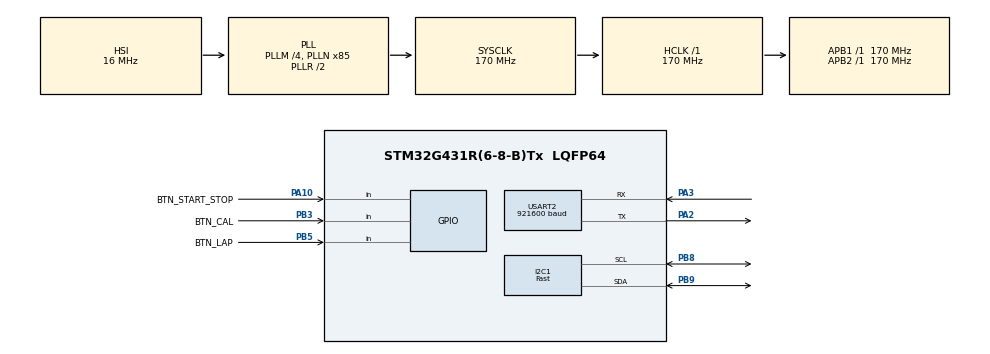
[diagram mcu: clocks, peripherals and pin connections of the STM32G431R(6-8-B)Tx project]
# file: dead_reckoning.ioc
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I2C1.I2C_Speed_Mode=I2C_Fast
I2C1.Timing=0x30422838
Mcu.Family=STM32G4
Mcu.Name=STM32G431R(6-8-B)Tx
Mcu.Package=LQFP64
NVIC.PriorityGroup=NVIC_PRIORITYGROUP_4
PA10.GPIO_Label=BTN_START_STOP
PA10.GPIO_PuPd=GPIO_PULLUP
PA10.Signal=GPIO_Input
PA13.Mode=Serial_Wire
PA13.Signal=SYS_JTMS-SWDIO
PA14.Mode=Serial_Wire
PA14.Signal=SYS_JTCK-SWCLK
PA2.Mode=Asynchronous
PA2.Signal=USART2_TX
PA2.TagName=VCP_TX
PA3.Mode=Asynchronous
PA3.Signal=USART2_RX
PA3.TagName=VCP_RX
PB3.GPIO_Label=BTN_CAL
PB3.GPIO_PuPd=GPIO_PULLUP
PB3.Signal=GPIO_Input
PB5.GPIO_Label=BTN_LAP
PB5.GPIO_PuPd=GPIO_PULLUP
PB5.Signal=GPIO_Input
PB8-BOOT0.Mode=I2C
PB8-BOOT0.Signal=I2C1_SCL
PB9.Mode=I2C
PB9.Signal=I2C1_SDA
ProjectManager.HeapSize=0x200
ProjectManager.StackSize=0x400
ProjectManager.TargetToolchain=STM32CubeIDE
RCC.ADC12Freq_Value=170000000
RCC.AHBFreq_Value=170000000
RCC.APB1Freq_Value=170000000
RCC.APB1TimFreq_Value=170000000
RCC.APB2Freq_Value=170000000
RCC.APB2TimFreq_Value=170000000
RCC.CortexFreq_Value=170000000
RCC.EXTERNAL_CLOCK_VALUE=12288000
RCC.HCLKFreq_Value=170000000
RCC.HSE_VALUE=24000000
RCC.HSI48_VALUE=48000000
RCC.HSI_VALUE=16000000
RCC.LSE_VALUE=32768
RCC.PLLM=RCC_PLLM_DIV4
RCC.PLLN=85
RCC.RTCClockSelection=RCC_RTCCLKSOURCE_LSE
RCC.SYSCLKFreq_VALUE=170000000
RCC.SYSCLKSource=RCC_SYSCLKSOURCE_PLLCLK
RCC.USBFreq_Value=170000000
RCC.VCOOutputFreq_Value=340000000
USART2.BaudRate=921600
USART2.VirtualMode-Asynchronous=VM_ASYNC
VP_SYS_VS_DBSignals.Mode=DisableDeadBatterySignals
board=NUCLEO-G431RB

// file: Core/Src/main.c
/* USER CODE BEGIN Header */
/**
  ******************************************************************************
  * @file           : main.c
  * @brief          : Main program body
  ******************************************************************************
  * @attention
  *
  * Copyright (c) 2025 STMicroelectronics.
  * All rights reserved.
  *
  * This software is licensed under terms that can be found in the LICENSE file
  * in the root directory of this software component.
  * If no LICENSE file comes with this software, it is provided AS-IS.
  *
  ******************************************************************************
  */
/* USER CODE END Header */
#include "main.h"

/* USER CODE BEGIN Includes */
#include "app_state.h"
#include "app_tick.h"
#include "buttons.h"
#include "display.h"
#include "filter_app.h"
#include "i2c_bus.h"
#include "sensors.h"
/* USER CODE END Includes */

I2C_HandleTypeDef hi2c1;

UART_HandleTypeDef huart2;

void SystemClock_Config(void);
static void MX_GPIO_Init(void);
static void MX_I2C1_Init(void);
static void MX_USART2_UART_Init(void);

/* USER CODE BEGIN 0 */
#include <math.h>
#include <stdio.h>
#include <string.h>
#include <stdbool.h>

extern UART_HandleTypeDef huart2;

// ---------- printf retarget (USART2) ----------
// Blocking. At 921600 baud a 200-character line costs about 2.2 ms, which fits
// inside the tick, but it is still the largest avoidable cost in the loop and
// is the thing to move to DMA when the serial stream goes continuous.
int _write(int file, char *ptr, int len) {
  (void)file;
  HAL_UART_Transmit(&huart2, (uint8_t*)ptr, (uint16_t)len, HAL_MAX_DELAY);
  return len;
}

static float vec3_norm(const float v[3]) {
  return sqrtf(v[0]*v[0] + v[1]*v[1] + v[2]*v[2]);
}

// Body-to-nav quaternion (Hamilton, scalar first) to NED roll/pitch/yaw in
// degrees. For reporting only; the filter works in quaternions throughout.
static void quat_to_euler_deg(const float q[4], float *roll, float *pitch, float *yaw) {
  const float w = q[0], x = q[1], y = q[2], z = q[3];
  const float rad_to_deg = 57.29577951f;

  *roll = atan2f(2.0f*(w*x + y*z), 1.0f - 2.0f*(x*x + y*y)) * rad_to_deg;

  // Clamped because rounding can push the argument just outside asin's domain
  // at the poles, where pitch is +/-90 degrees.
  float s = 2.0f*(w*y - z*x);
  if (s > 1.0f) s = 1.0f;
  if (s < -1.0f) s = -1.0f;
  *pitch = asinf(s) * rad_to_deg;

  *yaw = atan2f(2.0f*(w*z + x*y), 1.0f - 2.0f*(y*y + z*z)) * rad_to_deg;
}

// ---------- status screen ----------
// Redrawing only writes the framebuffer; display_service() pushes changed pages
// to the panel one at a time from the main loop, so nothing here blocks.
//
// The font is uppercase-only, so all text is written that way.
// How long a LAP snapshot stays on screen before live updates resume.
#define LAP_FREEZE_MS 1000u

// lap_marker labels the frame as a held snapshot. Freezing only suspends
// redrawing - the filter keeps stepping every tick throughout, so the values
// shown are a sample of a running estimate, not a paused one.
static void render_screen(bool lap_marker) {
  char line[DISPLAY_COLS + 1];
  const app_state_t state = app_state_get();

  if (lap_marker) {
    snprintf(line, sizeof(line), "LAP  %s", app_state_name(state));
    display_line(0, line);
  } else {
    display_line(0, app_state_name(state));
  }

  if (state == APP_IDLE) {
    display_line(2, "PRESS CAL TO LEVEL");
    display_line(3, "");
    display_line(4, "");
    display_line(6, "");
    display_line(7, "");
    return;
  }

  if (!filter_app_seeded()) {
    display_line(2, "WAITING FOR SENSORS");
    return;
  }

  const filter_output_t *f = filter_app_output();
  float roll, pitch, yaw;
  quat_to_euler_deg(f->q, &roll, &pitch, &yaw);

  // Heading reads more naturally as 0..360 than as the filter's -180..180.
  float heading = yaw < 0.0f ? yaw + 360.0f : yaw;

  snprintf(line, sizeof(line), "ROLL   %+7.1f", (double)roll);
  display_line(2, line);
  snprintf(line, sizeof(line), "PITCH  %+7.1f", (double)pitch);
  display_line(3, line);
  snprintf(line, sizeof(line), "HDG     %6.1f", (double)heading);
  display_line(4, line);

  snprintf(line, sizeof(line), "ALT   %+7.2f M", (double)f->h);
  display_line(6, line);

  if (state == APP_CALIBRATING) {
    display_line(7, "LEVELLING");
  } else {
    // Both saturate: the exact value past the cap does not tell the user
    // anything the cap does not, and it keeps the row inside 21 characters.
    unsigned cpu_ms = (unsigned)(app_cycles_to_us(f->last_cycles) / 1000u);
    unsigned missed = (unsigned)app_tick_overruns();
    if (cpu_ms > 99u) cpu_ms = 99u;
    if (missed > 999u) missed = 999u;

    snprintf(line, sizeof(line), "CPU %2u MS  MISS %3u", cpu_ms, missed);
    display_line(7, line);
  }
}

/* USER CODE END 0 */

int main(void)
{

  /* MCU Configuration--------------------------------------------------------*/

  /* Reset of all peripherals, Initializes the Flash interface and the Systick. */
  HAL_Init();

  /* Configure the system clock */
  SystemClock_Config();

  /* Initialize all configured peripherals */
  MX_GPIO_Init();
  MX_I2C1_Init();
  MX_USART2_UART_Init();
  /* USER CODE BEGIN 2 */

  display_init();

  buttons_init();
  app_state_init();

  /* USER CODE END 2 */

  /* Infinite loop */
  /* USER CODE BEGIN WHILE */

  bool sensors_ok = sensors_init();
  printf("sensors init ok=%u\r\n", (unsigned)sensors_ok);

  filter_app_init();
  printf("STATE %s\r\n", app_state_name(app_state_get()));
  render_screen(false);

  // Started last, so the overrun count reflects the running loop rather than
  // the ~800 ms of blocking delays in the BNO055 reset sequence above.
  app_tick_init();

  uint32_t last_tick_cycles = app_cycles();
  bool have_last_tick = false;

  // Tick interval statistics, reset at the end of each reporting window.
  uint32_t dt_min_us = 0xFFFFFFFFu;
  uint32_t dt_max_us = 0;
  uint32_t ticks_in_window = 0;

  uint32_t next_report_ms = HAL_GetTick() + 500; // 2 Hz

  sensors_t sens = {0};

  // Per-sensor counts of genuinely new samples in the reporting window. These
  // should converge on each sensor's configured output data rate.
  uint32_t n_accel = 0, n_gyro = 0, n_mag = 0, n_baro = 0;

  uint32_t ticks_since_render = 0;

  // Integrated gyro angle per axis, in degrees, reset by the LAP button. Turning
  // the board through a known angle and comparing settles whether the raw counts
  // are being scaled correctly, which no static reading can tell us.
  float gyro_angle_deg[3] = {0.0f, 0.0f, 0.0f};

  // Deadline until which the LAP snapshot is held on screen.
  uint32_t display_freeze_until_ms = 0;

  // Cost of emitting one telemetry row, so the stream's share of the tick can
  // be seen rather than assumed.
  uint32_t stream_cycles = 0;

  while (1)
  {
    if (!app_tick_pending()) {
      continue;
    }

    uint32_t now_cycles = app_cycles();
    if (have_last_tick) {
      uint32_t dt_us = app_cycles_to_us(now_cycles - last_tick_cycles);
      if (dt_us < dt_min_us) dt_min_us = dt_us;
      if (dt_us > dt_max_us) dt_max_us = dt_us;
      ticks_in_window++;
    }
    last_tick_cycles = now_cycles;
    have_last_tick = true;

    // Every device is polled each tick, but each one reports a status that is
    // true only when it actually produced a new sample. The filter consumes
    // those statuses directly.
    sensors_read(&sens);
    if (sens.gyro.status) {
      for (int i = 0; i < 3; i++) {
        gyro_angle_deg[i] += sens.gyro.meas[i] * (57.29578f / (float)APP_TICK_HZ);
      }
    }

    if (sens.accel.status) n_accel++;
    if (sens.gyro.status) n_gyro++;
    if (sens.mag.status) n_mag++;
    if (sens.baro.status) n_baro++;

    // IDLE leaves the filter untouched. CALIBRATING runs filter_init to level
    // the attitude and capture the reference pressure, RUNNING runs filter_loop.
    if (app_state_get() != APP_IDLE) {
      filter_app_step(&sens, app_tick_time_s(), app_state_filter_active());
    }

    // Full state and every raw measurement, one row per tick at APP_TICK_HZ.
    // The dashboard reads these; the human-readable status line below is
    // separate and distinguishable because it does not start with "S,".
    //
    // Raw sensor values are sent rather than anything derived, so the dashboard
    // can recompute things like the accelerometer gate itself instead of the
    // firmware duplicating logic that lives in the generated filter.
    //
    // This runs after filter_app_step, not before, so the state and the
    // measurements in a row belong to the same tick. Emitting it earlier paired
    // this tick's sensors with last tick's state, a fixed one-tick skew that is
    // invisible on the dashboard but would misalign an offline replay.
    {
      uint32_t tx_start = app_cycles();
      const filter_output_t *fo = filter_app_output();
      unsigned flags = (sens.accel.status ? 1u : 0u) | (sens.gyro.status ? 2u : 0u) |
                       (sens.mag.status ? 4u : 0u) | (sens.baro.status ? 8u : 0u);

      printf("S,%lu,%u,%u,"
             "%.5f,%.5f,%.5f,%.5f,"
             "%.5f,%.5f,%.5f,"
             "%.3f,%.3f,%.3f,%.3e,"
             "%.3f,%.3f,%.3f,"
             "%.4f,%.4f,%.4f,"
             "%.1f,%.1f,%.1f,"
             "%.1f,%.2f\r\n",
             (unsigned long)HAL_GetTick(), (unsigned)app_state_get(), flags,
             (double)fo->q[0], (double)fo->q[1], (double)fo->q[2], (double)fo->q[3],
             (double)fo->bias[0], (double)fo->bias[1], (double)fo->bias[2],
             (double)fo->a_z, (double)fo->v_z, (double)fo->h, (double)fo->P_frobenius,
             (double)sens.accel.meas[0], (double)sens.accel.meas[1], (double)sens.accel.meas[2],
             (double)sens.gyro.meas[0], (double)sens.gyro.meas[1], (double)sens.gyro.meas[2],
             (double)sens.mag.meas[0], (double)sens.mag.meas[1], (double)sens.mag.meas[2],
             (double)sens.baro.meas, (double)sens.baro_temperature_c);
      stream_cycles = app_cycles() - tx_start;
    }

    buttons_poll();

    if (app_state_update()) {
      // Stopping discards the estimate, so the next calibration starts clean
      // rather than continuing from a state the user has abandoned.
      if (app_state_get() == APP_IDLE) {
        filter_app_reset();
      }
      if (app_state_get() == APP_RUNNING) {
        filter_app_clear_cost();
      }
      printf("STATE %s\r\n", app_state_name(app_state_get()));
      render_screen(false);
    }

    if (buttons_pressed(BTN_LAP)) {
      gyro_angle_deg[0] = gyro_angle_deg[1] = gyro_angle_deg[2] = 0.0f;
      printf("LAP t=%lums state=%s\r\n",
             (unsigned long)HAL_GetTick(), app_state_name(app_state_get()));

      // Capture the state as it stands and hold it on screen. The filter is
      // untouched by this: it keeps stepping every tick, and only the redraw
      // is suspended, so the snapshot ages rather than the estimate stalling.
      render_screen(true);
      display_freeze_until_ms = HAL_GetTick() + LAP_FREEZE_MS;
    }

    // Live redraw at 5 Hz, unless a LAP snapshot is being held. display_service
    // runs either way, so the held frame still finishes reaching the panel.
    if (++ticks_since_render >= APP_TICK_HZ / 5u) {
      ticks_since_render = 0;
      if ((int32_t)(HAL_GetTick() - display_freeze_until_ms) >= 0) {
        render_screen(false);
      }
    }
    display_service();

    if ((int32_t)(HAL_GetTick() - next_report_ms) >= 0) {
      // Magnitudes are the quickest check that the units are right: at rest
      // |accel| should be ~9.81 m/s^2 and |mag| should be tens of microtesla.
      float a_norm = vec3_norm(sens.accel.meas);
      float m_norm = vec3_norm(sens.mag.meas);

      // Sample counts are doubled into per-second rates: the window is 500 ms.
      printf("%-11s | tick(n=%lu dt=%lu..%lu us over=%lu)"
             " | a[%+6.2f %+6.2f %+6.2f]=%5.2f"
             " | g[%+6.3f %+6.3f %+6.3f]"
             " | m[%+7.1f %+7.1f %+7.1f]=%5.1f"
             " | baro=%9.1f Pa"
             " | gyro_int[%+7.1f %+7.1f %+7.1f] deg"
             " | rate(a=%lu g=%lu m=%lu b=%lu Hz) | tx=%lu us | faults=%lu | BTN(%u%u%u)\r\n",
             app_state_name(app_state_get()),
             (unsigned long)ticks_in_window,
             (unsigned long)(ticks_in_window ? dt_min_us : 0),
             (unsigned long)dt_max_us,
             (unsigned long)app_tick_overruns(),
             (double)sens.accel.meas[0], (double)sens.accel.meas[1],
             (double)sens.accel.meas[2], (double)a_norm,
             (double)sens.gyro.meas[0], (double)sens.gyro.meas[1],
             (double)sens.gyro.meas[2],
             (double)sens.mag.meas[0], (double)sens.mag.meas[1],
             (double)sens.mag.meas[2], (double)m_norm,
             (double)sens.baro.meas,
             (double)gyro_angle_deg[0], (double)gyro_angle_deg[1],
             (double)gyro_angle_deg[2],
             (unsigned long)(n_accel * 2), (unsigned long)(n_gyro * 2),
             (unsigned long)(n_mag * 2), (unsigned long)(n_baro * 2),
             (unsigned long)app_cycles_to_us(stream_cycles),
             sensors_fault_count(),
             (unsigned)buttons_held(BTN_START_STOP),
             (unsigned)buttons_held(BTN_CAL),
             (unsigned)buttons_held(BTN_LAP));

      if (app_state_get() != APP_IDLE && filter_app_seeded()) {
        const filter_output_t *f = filter_app_output();
        float roll, pitch, yaw;
        quat_to_euler_deg(f->q, &roll, &pitch, &yaw);

        printf("            > filter rpy[%+7.2f %+7.2f %+7.2f] deg"
               " | bias[%+7.4f %+7.4f %+7.4f] rad/s"
               " | a_z=%+6.2f v_z=%+6.2f h=%+7.2f"
               " | |P|=%9.3e | dt=%.4f\r\n",
               (double)roll, (double)pitch, (double)yaw,
               (double)f->bias[0], (double)f->bias[1], (double)f->bias[2],
               (double)f->a_z, (double)f->v_z, (double)f->h,
               (double)f->P_frobenius, (double)f->dt);

        // Mean and worst cost of filter_entry, split by which measurement
        // updates ran. base = dynamics + accel only; the others add the
        // magnetometer and barometer updates on their slower cycles.
        printf("            > cost us  base=%lu/%lu  +mag=%lu/%lu"
               "  +baro=%lu/%lu  +both=%lu/%lu  (mean/max)\r\n",
               (unsigned long)app_cycles_to_us(filter_app_mean_cycles(FILTER_COST_BASE)),
               (unsigned long)app_cycles_to_us(filter_app_max_cycles(FILTER_COST_BASE)),
               (unsigned long)app_cycles_to_us(filter_app_mean_cycles(FILTER_COST_MAG)),
               (unsigned long)app_cycles_to_us(filter_app_max_cycles(FILTER_COST_MAG)),
               (unsigned long)app_cycles_to_us(filter_app_mean_cycles(FILTER_COST_BARO)),
               (unsigned long)app_cycles_to_us(filter_app_max_cycles(FILTER_COST_BARO)),
               (unsigned long)app_cycles_to_us(filter_app_mean_cycles(FILTER_COST_BOTH)),
               (unsigned long)app_cycles_to_us(filter_app_max_cycles(FILTER_COST_BOTH)));
      }

      n_accel = n_gyro = n_mag = n_baro = 0;
      dt_min_us = 0xFFFFFFFFu;
      dt_max_us = 0;
      ticks_in_window = 0;
      next_report_ms += 500;
    }

    /* USER CODE END WHILE */

  }
}

void SystemClock_Config(void)
{
  RCC_OscInitTypeDef RCC_OscInitStruct = {0};
  RCC_ClkInitTypeDef RCC_ClkInitStruct = {0};

  /** Configure the main internal regulator output voltage
  */
  HAL_PWREx_ControlVoltageScaling(PWR_REGULATOR_VOLTAGE_SCALE1_BOOST);

  /** Initializes the RCC Oscillators according to the specified parameters
  * in the RCC_OscInitTypeDef structure.
  */
  RCC_OscInitStruct.OscillatorType = RCC_OSCILLATORTYPE_HSI;
  RCC_OscInitStruct.HSIState = RCC_HSI_ON;
  RCC_OscInitStruct.HSICalibrationValue = RCC_HSICALIBRATION_DEFAULT;
  RCC_OscInitStruct.PLL.PLLState = RCC_PLL_ON;
  RCC_OscInitStruct.PLL.PLLSource = RCC_PLLSOURCE_HSI;
  RCC_OscInitStruct.PLL.PLLM = RCC_PLLM_DIV4;
  RCC_OscInitStruct.PLL.PLLN = 85;
  RCC_OscInitStruct.PLL.PLLP = RCC_PLLP_DIV2;
  RCC_OscInitStruct.PLL.PLLQ = RCC_PLLQ_DIV2;
  RCC_OscInitStruct.PLL.PLLR = RCC_PLLR_DIV2;
  if (HAL_RCC_OscConfig(&RCC_OscInitStruct) != HAL_OK)
  {
    Error_Handler();
  }

  /** Initializes the CPU, AHB and APB buses clocks
  */
  RCC_ClkInitStruct.ClockType = RCC_CLOCKTYPE_HCLK|RCC_CLOCKTYPE_SYSCLK
                              |RCC_CLOCKTYPE_PCLK1|RCC_CLOCKTYPE_PCLK2;
  RCC_ClkInitStruct.SYSCLKSource = RCC_SYSCLKSOURCE_PLLCLK;
  RCC_ClkInitStruct.AHBCLKDivider = RCC_SYSCLK_DIV1;
  RCC_ClkInitStruct.APB1CLKDivider = RCC_HCLK_DIV1;
  RCC_ClkInitStruct.APB2CLKDivider = RCC_HCLK_DIV1;

  if (HAL_RCC_ClockConfig(&RCC_ClkInitStruct, FLASH_LATENCY_4) != HAL_OK)
  {
    Error_Handler();
  }
}

static void MX_I2C1_Init(void)
{

  hi2c1.Instance = I2C1;
  hi2c1.Init.Timing = 0x30422838;
  hi2c1.Init.OwnAddress1 = 0;
  hi2c1.Init.AddressingMode = I2C_ADDRESSINGMODE_7BIT;
  hi2c1.Init.DualAddressMode = I2C_DUALADDRESS_DISABLE;
  hi2c1.Init.OwnAddress2 = 0;
  hi2c1.Init.OwnAddress2Masks = I2C_OA2_NOMASK;
  hi2c1.Init.GeneralCallMode = I2C_GENERALCALL_DISABLE;
  hi2c1.Init.NoStretchMode = I2C_NOSTRETCH_DISABLE;
  if (HAL_I2C_Init(&hi2c1) != HAL_OK)
  {
    Error_Handler();
  }

  /** Configure Analogue filter
  */
  if (HAL_I2CEx_ConfigAnalogFilter(&hi2c1, I2C_ANALOGFILTER_ENABLE) != HAL_OK)
  {
    Error_Handler();
  }

  /** Configure Digital filter
  */
  if (HAL_I2CEx_ConfigDigitalFilter(&hi2c1, 0) != HAL_OK)
  {
    Error_Handler();
  }
}

static void MX_USART2_UART_Init(void)
{

  huart2.Instance = USART2;
  huart2.Init.BaudRate = 921600;
  huart2.Init.WordLength = UART_WORDLENGTH_8B;
  huart2.Init.StopBits = UART_STOPBITS_1;
  huart2.Init.Parity = UART_PARITY_NONE;
  huart2.Init.Mode = UART_MODE_TX_RX;
  huart2.Init.HwFlowCtl = UART_HWCONTROL_NONE;
  huart2.Init.OverSampling = UART_OVERSAMPLING_16;
  huart2.Init.OneBitSampling = UART_ONE_BIT_SAMPLE_DISABLE;
  huart2.Init.ClockPrescaler = UART_PRESCALER_DIV1;
  huart2.AdvancedInit.AdvFeatureInit = UART_ADVFEATURE_NO_INIT;
  if (HAL_UART_Init(&huart2) != HAL_OK)
  {
    Error_Handler();
  }
  if (HAL_UARTEx_SetTxFifoThreshold(&huart2, UART_TXFIFO_THRESHOLD_1_8) != HAL_OK)
  {
    Error_Handler();
  }
  if (HAL_UARTEx_SetRxFifoThreshold(&huart2, UART_RXFIFO_THRESHOLD_1_8) != HAL_OK)
  {
    Error_Handler();
  }
  if (HAL_UARTEx_DisableFifoMode(&huart2) != HAL_OK)
  {
    Error_Handler();
  }
}

static void MX_GPIO_Init(void)
{
  GPIO_InitTypeDef GPIO_InitStruct = {0};

  /* GPIO Ports Clock Enable */
  __HAL_RCC_GPIOA_CLK_ENABLE();
  __HAL_RCC_GPIOB_CLK_ENABLE();

  /*Configure GPIO pin : PA10 */
  GPIO_InitStruct.Pin = GPIO_PIN_10;
  GPIO_InitStruct.Mode = GPIO_MODE_INPUT;
  GPIO_InitStruct.Pull = GPIO_PULLUP;
  HAL_GPIO_Init(GPIOA, &GPIO_InitStruct);

  /*Configure GPIO pins : PB3 PB5 */
  GPIO_InitStruct.Pin = GPIO_PIN_3|GPIO_PIN_5;
  GPIO_InitStruct.Mode = GPIO_MODE_INPUT;
  GPIO_InitStruct.Pull = GPIO_PULLUP;
  HAL_GPIO_Init(GPIOB, &GPIO_InitStruct);

}

void Error_Handler(void)
{
  __disable_irq();
  while (1)
  {
  }
}
